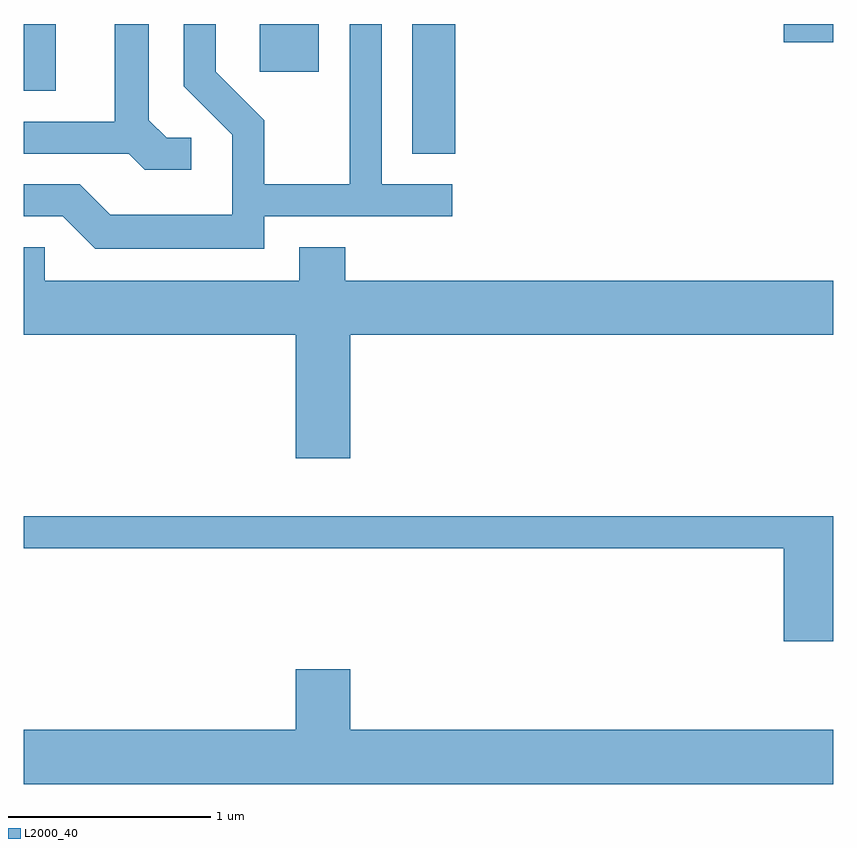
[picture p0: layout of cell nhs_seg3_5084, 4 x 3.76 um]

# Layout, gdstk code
import gdstk
lib = gdstk.Library(unit=1e-6, precision=1e-09)
def R(c, l, rs):  # rectangles x0, y0, x1, y1
    for r in rs: c.add(gdstk.rectangle(r[:2], r[2:], *l))
def P(c, l, *ps):  # polygons
    for p in ps: c.add(gdstk.Polygon(p, *l))
L2000_40 = (2000, 40)

nhs_seg3_5084 = lib.new_cell('nhs_seg3_5084')
R(nhs_seg3_5084, L2000_40, [(335.531,1231.251,335.744,1231.892), (333.611,1231.561,333.769,1231.892), (334.776,1231.656,335.069,1231.892), (337.366,1231.801,337.611,1231.892)])
P(nhs_seg3_5084, L2000_40, [(334.438,1231.329),(334.317,1231.329),(334.229,1231.417),(334.229,1231.892),(334.061,1231.892),(334.061,1231.409),(333.611,1231.409),(333.611,1231.251),(334.129,1231.251),(334.209,1231.171),(334.438,1231.171)],
  [(334.799,1230.941),(335.728,1230.941),(335.728,1231.099),(335.379,1231.099),(335.379,1231.892),(335.221,1231.892),(335.221,1231.099),(334.799,1231.099),(334.799,1231.417),(334.559,1231.657),(334.559,1231.892),(334.401,1231.892),(334.401,1231.584),(334.641,1231.344),(334.641,1230.949),(334.037,1230.949),(333.887,1231.099),(333.611,1231.099),(333.611,1230.941),(333.804,1230.941),(333.964,1230.781),(334.799,1230.781)],
  [(335.224,1230.356),(337.611,1230.356),(337.611,1230.624),(335.199,1230.624),(335.199,1230.789),(334.971,1230.789),(334.971,1230.624),(333.714,1230.624),(333.714,1230.789),(333.611,1230.789),(333.611,1230.356),(334.956,1230.356),(334.956,1229.746),(335.224,1229.746)],
  [(337.611,1229.459),(333.611,1229.459),(333.611,1229.301),(337.366,1229.301),(337.366,1228.841),(337.611,1228.841)],
  [(337.611,1228.404),(335.224,1228.404),(335.224,1228.704),(334.956,1228.704),(334.956,1228.404),(333.611,1228.404),(333.611,1228.136),(337.611,1228.136)])

lib.write_gds('nhs_seg3_5084.gds')
